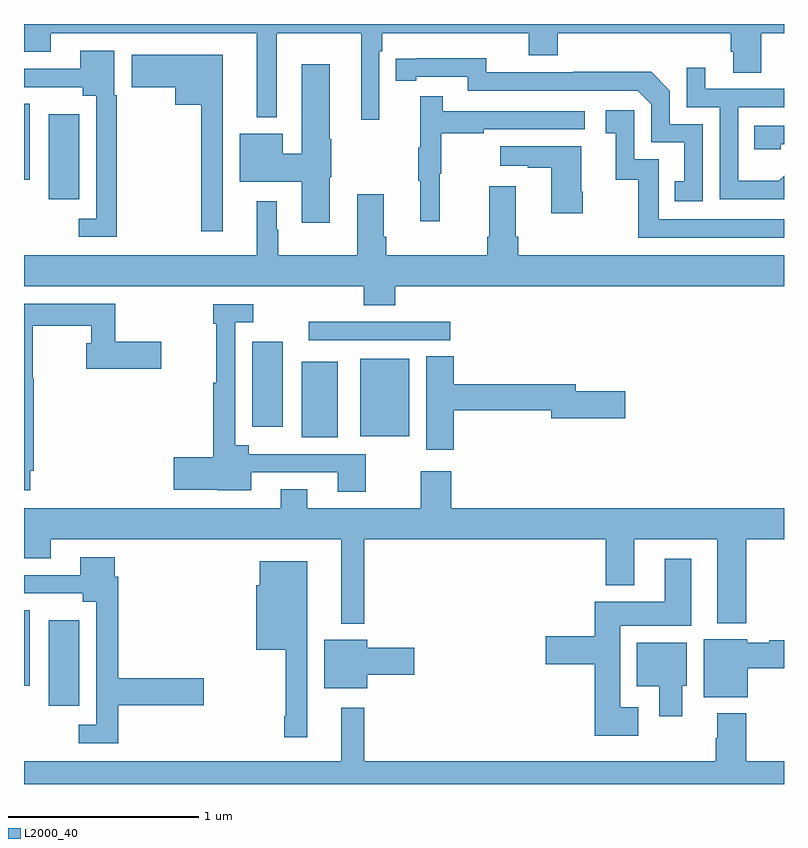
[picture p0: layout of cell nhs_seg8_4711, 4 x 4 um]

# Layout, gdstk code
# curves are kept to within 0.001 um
import gdstk
lib = gdstk.Library(unit=1e-6, precision=1e-09)
def R(c, l, rs):  # rectangles x0, y0, x1, y1
    for r in rs: c.add(gdstk.rectangle(r[:2], r[2:], *l))
def P(c, l, *ps):  # polygons
    for p in ps: c.add(gdstk.Polygon(p, *l))
L2000_40 = (2000, 40)

nhs_seg8_4711 = lib.new_cell('nhs_seg8_4711')
R(nhs_seg8_4711, L2000_40, [(397.13,1094.313,397.291,1094.761), (397,1094.417,397.03,1094.815), (398.462,1095.725,398.65,1096.123), (398.771,1095.731,399.028,1096.138), (398.201,1095.78,398.362,1096.228), (398.499,1096.236,399.244,1096.332), (397.13,1096.977,397.291,1097.425), (397,1097.081,397.03,1097.479)])
P(nhs_seg8_4711, L2000_40, [(398.871,1097.756),(398.885,1097.756),(398.885,1097.852),(399.656,1097.852),(399.656,1097.735),(399.809,1097.735),(399.809,1097.852),(400.721,1097.852),(400.721,1097.754),(400.733,1097.754),(400.733,1097.644),(400.881,1097.644),(400.881,1097.852),(401,1097.852),(401,1097.9),(397,1097.9),(397,1097.852),(397.001,1097.852),(397.001,1097.753),(397.141,1097.753),(397.141,1097.852),(398.225,1097.852),(398.225,1097.408),(398.329,1097.408),(398.329,1097.852),(398.774,1097.852),(398.774,1097.397),(398.871,1097.397)],
  [(397.489,1097.526),(397.476,1097.526),(397.476,1097.758),(397.295,1097.758),(397.295,1097.664),(397,1097.664),(397,1097.568),(397.31,1097.568),(397.31,1097.522),(397.38,1097.522),(397.38,1096.875),(397.287,1096.875),(397.287,1096.779),(397.489,1096.779)],
  [(398.047,1097.737),(397.566,1097.737),(397.566,1097.567),(397.796,1097.567),(397.796,1097.474),(397.933,1097.474),(397.933,1096.809),(398.047,1096.809)],
  [(400.572,1097.373),(400.398,1097.373),(400.398,1097.55),(400.3,1097.648),(399.892,1097.648),(399.892,1097.646),(399.432,1097.646),(399.432,1097.719),(398.956,1097.718),(398.956,1097.602),(399.064,1097.602),(399.064,1097.622),(399.336,1097.622),(399.336,1097.55),(400.23,1097.55),(400.302,1097.478),(400.302,1097.277),(400.475,1097.277),(400.475,1097.073),(400.426,1097.073),(400.426,1096.968),(400.572,1096.968)],
  [(398.608,1097.093),(398.616,1097.093),(398.616,1097.293),(398.608,1097.293),(398.608,1097.689),(398.462,1097.689),(398.462,1097.216),(398.362,1097.216),(398.362,1097.323),(398.135,1097.323),(398.135,1097.069),(398.462,1097.069),(398.462,1096.854),(398.608,1096.854)],
  [(401,1097.102),(400.972,1097.074),(400.758,1097.074),(400.758,1097.463),(401,1097.463),(401,1097.559),(400.585,1097.559),(400.585,1097.671),(400.488,1097.671),(400.488,1097.463),(400.662,1097.463),(400.662,1096.977),(401,1096.977)],
  [(399.188,1097.112),(399.196,1097.112),(399.196,1097.326),(399.419,1097.326),(399.419,1097.346),(399.952,1097.346),(399.952,1097.442),(399.203,1097.442),(399.203,1097.521),(399.086,1097.521),(399.086,1097.249),(399.075,1097.249),(399.075,1097.075),(399.086,1097.075),(399.086,1096.863),(399.188,1096.863)],
  [(401,1096.872),(400.341,1096.872),(400.341,1097.187),(400.212,1097.187),(400.212,1097.446),(400.062,1097.446),(400.062,1097.325),(400.115,1097.325),(400.115,1097.079),(400.233,1097.079),(400.233,1096.776),(401,1096.776)],
  [(400.983,1097.268),(401,1097.268),(401,1097.364),(400.843,1097.364),(400.843,1097.241),(400.983,1097.241)],
  [(399.942,1097.017),(399.934,1097.017),(399.934,1097.257),(399.507,1097.257),(399.507,1097.153),(399.65,1097.153),(399.65,1097.143),(399.776,1097.143),(399.776,1096.905),(399.942,1096.905)],
  [(398.954,1096.52),(401,1096.52),(401,1096.684),(399.602,1096.684),(399.602,1096.78),(399.589,1096.78),(399.589,1097.047),(399.449,1097.047),(399.449,1096.78),(399.437,1096.78),(399.437,1096.684),(398.906,1096.684),(398.906,1096.78),(398.893,1096.78),(398.893,1097.005),(398.753,1097.005),(398.753,1096.684),(398.339,1096.684),(398.339,1096.817),(398.329,1096.817),(398.329,1096.966),(398.225,1096.966),(398.225,1096.684),(397,1096.684),(397,1096.52),(398.789,1096.52),(398.789,1096.421),(398.954,1096.421)],
  [(397.033,1095.55),(397.052,1095.55),(397.052,1096.035),(397.045,1096.035),(397.045,1096.312),(397.353,1096.312),(397.353,1096.219),(397.327,1096.219),(397.327,1096.085),(397.723,1096.085),(397.723,1096.227),(397.481,1096.227),(397.481,1096.428),(397,1096.428),(397,1095.446),(397.033,1095.446)],
  [(398.799,1095.636),(398.182,1095.636),(398.182,1095.682),(398.112,1095.682),(398.112,1096.329),(398.206,1096.329),(398.206,1096.425),(397.996,1096.425),(397.996,1096.322),(398.011,1096.322),(398.011,1096.013),(397.996,1096.013),(397.996,1095.62),(397.788,1095.62),(397.788,1095.449),(398.019,1095.449),(398.019,1095.446),(398.197,1095.446),(398.197,1095.54),(398.651,1095.54),(398.651,1095.438),(398.799,1095.438)],
  [(399.263,1095.868),(399.776,1095.868),(399.776,1095.826),(400.165,1095.826),(400.165,1095.968),(399.904,1095.968),(399.904,1096.004),(399.263,1096.004),(399.263,1096.151),(399.116,1096.151),(399.116,1095.66),(399.263,1095.66)],
  [(398.791,1095.188),(400.061,1095.188),(400.061,1094.945),(400.213,1094.945),(400.213,1095.188),(400.649,1095.188),(400.649,1094.747),(400.802,1094.747),(400.802,1095.188),(401,1095.188),(401,1095.352),(399.248,1095.352),(399.248,1095.547),(399.088,1095.547),(399.088,1095.352),(398.491,1095.352),(398.491,1095.451),(398.351,1095.451),(398.351,1095.352),(397,1095.352),(397,1095.188),(397.001,1095.188),(397.001,1095.089),(397.141,1095.089),(397.141,1095.188),(398.669,1095.188),(398.669,1094.744),(398.791,1094.744)],
  [(397.496,1094.314),(397.945,1094.314),(397.945,1094.456),(397.496,1094.456),(397.496,1094.99),(397.477,1094.99),(397.477,1095.094),(397.295,1095.094),(397.295,1095),(397,1095),(397,1094.904),(397.31,1094.904),(397.31,1094.858),(397.38,1094.858),(397.38,1094.211),(397.287,1094.211),(397.287,1094.115),(397.496,1094.115)],
  [(400.234,1094.305),(400.138,1094.305),(400.138,1094.732),(400.513,1094.732),(400.513,1095.085),(400.373,1095.085),(400.373,1094.86),(400.004,1094.86),(400.004,1094.678),(399.747,1094.678),(399.747,1094.531),(400.004,1094.531),(400.004,1094.153),(400.234,1094.153)],
  [(398.491,1095.073),(398.24,1095.073),(398.24,1094.946),(398.222,1094.946),(398.222,1094.606),(398.377,1094.606),(398.377,1094.257),(398.37,1094.257),(398.37,1094.145),(398.491,1094.145)],
  [(400.81,1094.51),(401,1094.51),(401,1094.657),(400.923,1094.657),(400.923,1094.644),(400.806,1094.644),(400.806,1094.662),(400.577,1094.662),(400.577,1094.357),(400.81,1094.357)],
  [(398.806,1094.476),(399.055,1094.476),(399.055,1094.618),(398.806,1094.618),(398.806,1094.659),(398.579,1094.659),(398.579,1094.405),(398.806,1094.405)],
  [(400.465,1094.418),(400.489,1094.418),(400.489,1094.644),(400.226,1094.644),(400.226,1094.414),(400.343,1094.414),(400.343,1094.256),(400.465,1094.256)],
  [(401,1094.02),(400.802,1094.02),(400.802,1094.272),(400.649,1094.272),(400.649,1094.141),(400.642,1094.141),(400.642,1094.02),(398.791,1094.02),(398.791,1094.302),(398.669,1094.302),(398.669,1094.02),(397,1094.02),(397,1093.9),(401,1093.9)])

lib.write_gds('nhs_seg8_4711.gds')
